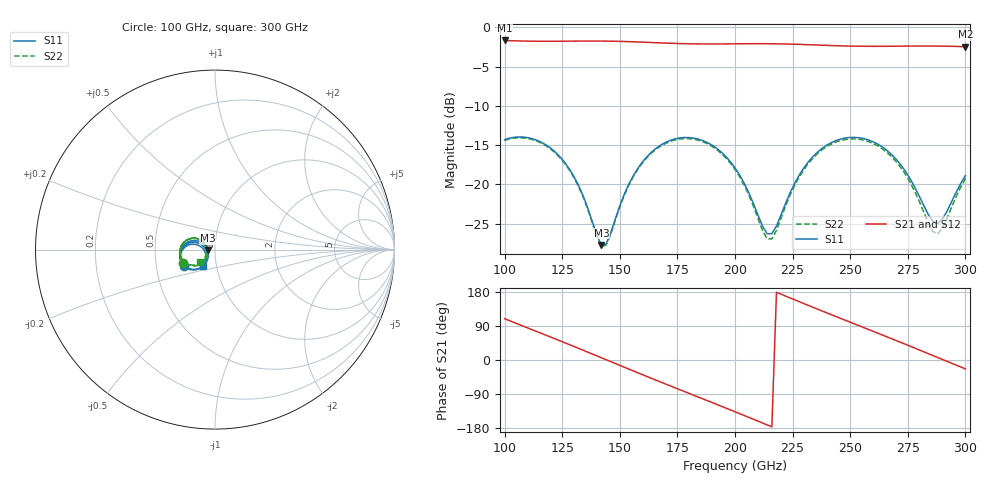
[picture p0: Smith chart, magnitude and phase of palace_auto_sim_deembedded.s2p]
! Created with skrf 1.11.0 (http://scikit-rf.org).
# GHz S DB R 50.0
!freq dBS11 angS11 dBS21 angS21 dBS12 angS12 dBS22 angS22
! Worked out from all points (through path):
!   101 points, 100 GHz to 300 GHz, reference 50 ohm
!   highest |S21| = -1.66 dB at 100 GHz (marker M1); lowest = -2.5 dB at 300 GHz (marker M2)
!   group delay of S21, straight-line fit = 6.84 ps
!   lowest |S11| = -27.7 dB at 142 GHz (marker M3), VSWR 1.09, Z = 46.1 - j0.367 ohm
!   |S11| at or under -10 dB: start of sweep to end of sweep
!   |S22| runs from -27.9 to -14.1 dB; largest |S21 - S12| = 9e-14
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100  -14.29 -152.1  -1.66 109.0  -1.66 109.0  -14.39 -157.5
108  -13.96 -168.2  -1.74 89.6  -1.74 89.6  -14.06 -174.0
116  -14.63 176.2  -1.77 70.2  -1.77 70.2  -14.74 169.9
126  -17.16 159.0  -1.76 45.8  -1.76 45.8  -17.28 152.2
134  -21.39 152.6  -1.74 26.0  -1.74 26.0  -21.52 145.4
142  -27.70 -174.5  -1.74 6.0  -1.74 6.0  -27.85 178.0
144  -27.60 -154.8  -1.75 1.0  -1.75 1.0  -27.75 -162.3
154  -19.91 -124.4  -1.82 -24.1  -1.82 -24.1  -20.03 -132.6
168  -14.94 -144.0  -1.98 -58.8  -1.98 -58.8  -15.06 -153.1
176  -14.07 -158.8  -2.06 -78.3  -2.06 -78.3  -14.21 -168.4
184  -14.22 -173.7  -2.10 -97.6  -2.10 -97.6  -14.36 176.1
200  -17.88 161.2  -2.09 -136.6  -2.09 -136.6  -18.07 149.6
212  -25.34 175.4  -2.07 -166.4  -2.07 -166.4  -25.89 162.6
216  -26.26 -155.0  -2.08 -176.4  -2.08 -176.4  -26.92 -165.8
226  -19.79 -125.1  -2.15 158.6  -2.15 158.6  -20.04 -135.8
234  -16.40 -132.5  -2.23 138.7  -2.23 138.7  -16.59 -144.3
244  -14.39 -148.6  -2.33 114.3  -2.33 114.3  -14.57 -161.4
252  -14.00 -162.7  -2.39 94.9  -2.39 94.9  -14.19 -176.3
268  -16.20 171.5  -2.40 56.1  -2.40 56.1  -16.47 155.9
278  -20.32 165.4  -2.37 31.5  -2.37 31.5  -20.86 147.9
288  -24.94 -158.1  -2.38 6.5  -2.38 6.5  -26.27 -171.8
300  -18.86 -126.7  -2.46 -23.4  -2.46 -23.4  -19.24 -139.0
